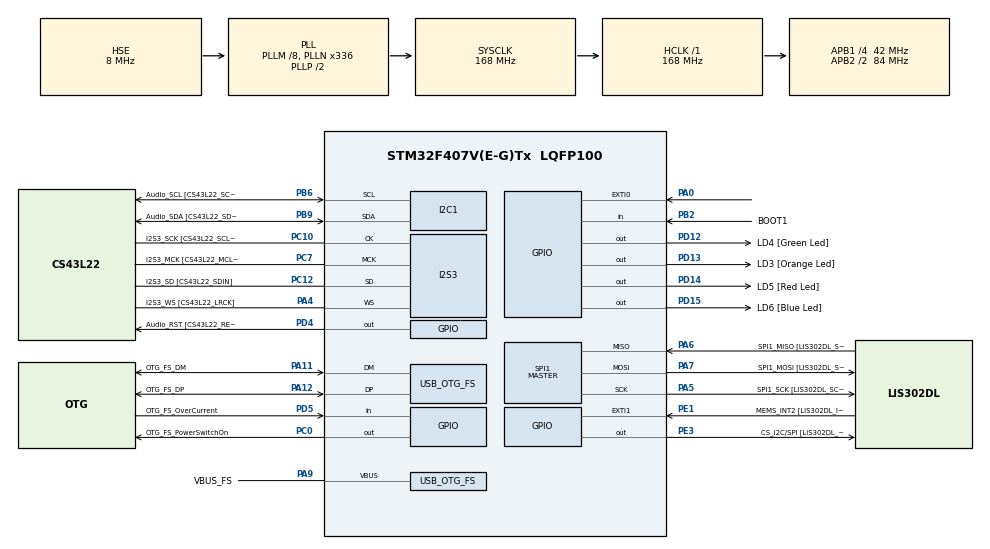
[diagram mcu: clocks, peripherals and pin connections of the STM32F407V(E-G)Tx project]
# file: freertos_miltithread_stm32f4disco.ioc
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FREERTOS.Tasks01=defaultTask,24,128,StartDefaultTask,Default,NULL,Dynamic,NULL,NULL
I2S3.AudioFreq-Half_Duplex_Master=I2S_AUDIOFREQ_96K
I2S3.ErrorAudioFreq=-2.34 %
I2S3.ErrorAudioFreq-Half_Duplex_Master=0.8 %
I2S3.FullDuplexMode=I2S_FULLDUPLEXMODE_DISABLE
I2S3.Instance=SPI$Index
I2S3.RealAudioFreq=93.75 KHz
I2S3.RealAudioFreq-Half_Duplex_Master=96.774 KHz
I2S3.VirtualMode=I2S_MODE_MASTER
Mcu.Family=STM32F4
Mcu.Name=STM32F407V(E-G)Tx
Mcu.Package=LQFP100
NVIC.OTG_FS_IRQn=true\:0\:0\:false\:false\:true\:false\:true\:true
NVIC.PriorityGroup=NVIC_PRIORITYGROUP_4
PA0-WKUP.GPIO_ModeDefaultEXTI=GPIO_MODE_IT_RISING_FALLING
PA0-WKUP.GPIO_PuPd=GPIO_PULLDOWN
PA0-WKUP.Signal=GPXTI0
PA10.GPIO_Label=OTG_FS_ID
PA10.GPIO_Mode=GPIO_MODE_AF_PP
PA10.GPIO_PuPd=GPIO_NOPULL
PA10.GPIO_Speed=GPIO_SPEED_FREQ_LOW
PA10.Signal=USB_OTG_FS_ID
PA11.GPIO_Label=OTG_FS_DM
PA11.GPIO_Mode=GPIO_MODE_AF_PP
PA11.GPIO_PuPd=GPIO_NOPULL
PA11.GPIO_Speed=GPIO_SPEED_FREQ_LOW
PA11.Mode=Host_Only
PA11.Signal=USB_OTG_FS_DM
PA12.GPIO_Label=OTG_FS_DP
PA12.GPIO_Mode=GPIO_MODE_AF_PP
PA12.GPIO_PuPd=GPIO_NOPULL
PA12.GPIO_Speed=GPIO_SPEED_FREQ_LOW
PA12.Mode=Host_Only
PA12.Signal=USB_OTG_FS_DP
PA13.GPIO_Label=SWDIO
PA13.Mode=Serial_Wire
PA13.Signal=SYS_JTMS-SWDIO
PA14.GPIO_Label=SWCLK
PA14.Mode=Serial_Wire
PA14.Signal=SYS_JTCK-SWCLK
PA4.GPIO_Label=I2S3_WS [CS43L22_LRCK]
PA4.GPIO_Mode=GPIO_MODE_AF_PP
PA4.GPIO_PuPd=GPIO_NOPULL
PA4.GPIO_Speed=GPIO_SPEED_FREQ_LOW
PA4.Mode=Half_Duplex_Master
PA4.Signal=I2S3_WS
PA5.GPIO_Label=SPI1_SCK [LIS302DL_SCL/SPC]
PA5.GPIO_Mode=GPIO_MODE_AF_PP
PA5.GPIO_PuPd=GPIO_NOPULL
PA5.GPIO_Speed=GPIO_SPEED_FREQ_LOW
PA5.Mode=Full_Duplex_Master
PA5.Signal=SPI1_SCK
PA6.GPIO_Label=SPI1_MISO [LIS302DL_SDO]
PA6.GPIO_Mode=GPIO_MODE_AF_PP
PA6.GPIO_PuPd=GPIO_NOPULL
PA6.GPIO_Speed=GPIO_SPEED_FREQ_LOW
PA6.Mode=Full_Duplex_Master
PA6.Signal=SPI1_MISO
PA7.GPIO_Label=SPI1_MOSI [LIS302DL_SDA/SDI/SDO]
PA7.GPIO_Mode=GPIO_MODE_AF_PP
PA7.GPIO_PuPd=GPIO_NOPULL
PA7.GPIO_Speed=GPIO_SPEED_FREQ_LOW
PA7.Mode=Full_Duplex_Master
PA7.Signal=SPI1_MOSI
PA9.GPIO_Label=VBUS_FS
PA9.GPIO_Mode=GPIO_MODE_INPUT
PA9.GPIO_PuPd=GPIO_NOPULL
PA9.Mode=Activate_VBUS
PA9.Signal=USB_OTG_FS_VBUS
PB10.GPIO_Label=CLK_IN [MP45DT02_CLK]
PB10.GPIO_Mode=GPIO_MODE_AF_PP
PB10.GPIO_PuPd=GPIO_NOPULL
PB10.GPIO_Speed=GPIO_SPEED_FREQ_LOW
PB10.Signal=I2S2_CK
PB2.GPIO_Label=BOOT1
PB2.GPIO_Mode=GPIO_MODE_INPUT
PB2.GPIO_PuPd=GPIO_NOPULL
PB2.Signal=GPIO_Input
PB3.GPIO_Label=SWO
PB3.Signal=SYS_JTDO-SWO
PB6.GPIO_Label=Audio_SCL [CS43L22_SCL]
PB6.GPIO_Mode=GPIO_MODE_AF_OD
PB6.GPIO_PuPd=GPIO_NOPULL
PB6.GPIO_Speed=GPIO_SPEED_FREQ_LOW
PB6.Mode=I2C
PB6.Signal=I2C1_SCL
PB9.GPIO_Label=Audio_SDA [CS43L22_SDA]
PB9.GPIO_Mode=GPIO_MODE_AF_OD
PB9.GPIO_PuPd=GPIO_NOPULL
PB9.GPIO_Speed=GPIO_SPEED_FREQ_LOW
PB9.Mode=I2C
PB9.Signal=I2C1_SDA
PC0.GPIO_Label=OTG_FS_PowerSwitchOn
PC0.GPIO_PuPd=GPIO_NOPULL
PC0.GPIO_Speed=GPIO_SPEED_FREQ_LOW
PC0.PinState=GPIO_PIN_SET
PC0.Signal=GPIO_Output
PC10.GPIO_Label=I2S3_SCK [CS43L22_SCLK]
PC10.GPIO_Mode=GPIO_MODE_AF_PP
PC10.GPIO_PuPd=GPIO_NOPULL
PC10.GPIO_Speed=GPIO_SPEED_FREQ_LOW
PC10.Mode=Half_Duplex_Master
PC10.Signal=I2S3_CK
PC12.GPIO_Label=I2S3_SD [CS43L22_SDIN]
PC12.GPIO_Mode=GPIO_MODE_AF_PP
PC12.GPIO_PuPd=GPIO_NOPULL
PC12.GPIO_Speed=GPIO_SPEED_FREQ_LOW
PC12.Mode=Half_Duplex_Master
PC12.Signal=I2S3_SD
PC14-OSC32_IN.GPIO_Label=PC14-OSC32_IN
PC14-OSC32_IN.Mode=LSE-External-Oscillator
PC14-OSC32_IN.Signal=RCC_OSC32_IN
PC15-OSC32_OUT.GPIO_Label=PC15-OSC32_OUT
PC15-OSC32_OUT.Mode=LSE-External-Oscillator
PC15-OSC32_OUT.Signal=RCC_OSC32_OUT
PC3.GPIO_Label=PDM_OUT [MP45DT02_DOUT]
PC3.GPIO_Mode=GPIO_MODE_AF_PP
PC3.GPIO_PuPd=GPIO_NOPULL
PC3.GPIO_Speed=GPIO_SPEED_FREQ_LOW
PC3.Signal=I2S2_SD
PC7.GPIO_Label=I2S3_MCK [CS43L22_MCLK]
PC7.GPIO_Mode=GPIO_MODE_AF_PP
PC7.GPIO_PuPd=GPIO_NOPULL
PC7.GPIO_Speed=GPIO_SPEED_FREQ_LOW
PC7.Mode=Master_Clock_Activated
PC7.Signal=I2S3_MCK
PD12.GPIO_Label=LD4 [Green Led]
PD12.GPIO_PuPd=GPIO_NOPULL
PD12.GPIO_Speed=GPIO_SPEED_FREQ_LOW
PD12.Signal=GPIO_Output
PD13.GPIO_Label=LD3 [Orange Led]
PD13.GPIO_PuPd=GPIO_NOPULL
PD13.GPIO_Speed=GPIO_SPEED_FREQ_LOW
PD13.Signal=GPIO_Output
PD14.GPIO_Label=LD5 [Red Led]
PD14.GPIO_PuPd=GPIO_NOPULL
PD14.GPIO_Speed=GPIO_SPEED_FREQ_LOW
PD14.Signal=GPIO_Output
PD15.GPIO_Label=LD6 [Blue Led]
PD15.GPIO_PuPd=GPIO_NOPULL
PD15.GPIO_Speed=GPIO_SPEED_FREQ_LOW
PD15.Signal=GPIO_Output
PD4.GPIO_Label=Audio_RST [CS43L22_RESET]
PD4.GPIO_PuPd=GPIO_NOPULL
PD4.GPIO_Speed=GPIO_SPEED_FREQ_LOW
PD4.Signal=GPIO_Output
PD5.GPIO_Label=OTG_FS_OverCurrent
PD5.GPIO_Mode=GPIO_MODE_INPUT
PD5.GPIO_PuPd=GPIO_NOPULL
PD5.Signal=GPIO_Input
PE1.GPIO_Label=MEMS_INT2 [LIS302DL_INT2]
PE1.GPIO_ModeDefaultEXTI=GPIO_MODE_EVT_RISING
PE1.GPIO_PuPd=GPIO_NOPULL
PE1.Signal=GPXTI1
PE3.GPIO_Label=CS_I2C/SPI [LIS302DL_CS_I2C/SPI]
PE3.GPIO_PuPd=GPIO_NOPULL
PE3.GPIO_Speed=GPIO_SPEED_FREQ_LOW
PE3.Signal=GPIO_Output
PH0-OSC_IN.GPIO_Label=PH0-OSC_IN
PH0-OSC_IN.Mode=HSE-External-Oscillator
PH0-OSC_IN.Signal=RCC_OSC_IN
PH1-OSC_OUT.GPIO_Label=PH1-OSC_OUT
PH1-OSC_OUT.Mode=HSE-External-Oscillator
PH1-OSC_OUT.Signal=RCC_OSC_OUT
ProjectManager.HeapSize=0x200
ProjectManager.StackSize=0x400
ProjectManager.TargetToolchain=STM32CubeIDE
RCC.48MHZClocksFreq_Value=48000000
RCC.AHBFreq_Value=168000000
RCC.APB1CLKDivider=RCC_HCLK_DIV4
RCC.APB1Freq_Value=42000000
RCC.APB1TimFreq_Value=84000000
RCC.APB2CLKDivider=RCC_HCLK_DIV2
RCC.APB2Freq_Value=84000000
RCC.APB2TimFreq_Value=168000000
RCC.CortexFreq_Value=168000000
RCC.HCLKFreq_Value=168000000
RCC.HSE_VALUE=8000000
RCC.HSI_VALUE=16000000
RCC.PLLM=8
RCC.PLLN=336
RCC.PLLQ=7
RCC.SYSCLKFreq_VALUE=168000000
RCC.SYSCLKSource=RCC_SYSCLKSOURCE_PLLCLK
RCC.VCOOutputFreq_Value=336000000
SPI1.BaudRatePrescaler-Full_Duplex_Master=SPI_BAUDRATEPRESCALER_2
SPI1.CalculateBaudRate-Full_Duplex_Master=42.0 MBits/s
SPI1.Direction=SPI_DIRECTION_2LINES
SPI1.Mode=SPI_MODE_MASTER
SPI1.Mode-Full_Duplex_Master=SPI_MODE_MASTER
SPI1.VirtualType=VM_MASTER
USB_HOST.BSP.number=1
USB_HOST.USBH_HandleTypeDef-CDC_FS=hUsbHostFS
USB_HOST.USBH_USE_OS-CDC_FS=0
USB_HOST.VirtualModeFS=Cdc
USB_HOST0.BSP.STBoard=false
USB_HOST0.BSP.api=Unknown
USB_HOST0.BSP.i2caddr=0
USB_HOST0.BSP.i2creg=0
USB_HOST0.BSP.instance=PC0
USB_HOST0.BSP.ip=GPIO
USB_HOST0.BSP.mode=Output
USB_HOST0.BSP.name=Drive_VBUS_FS
USB_HOST0.BSP.solution=PC0
USB_OTG_FS.VirtualMode=Host_Only
USB_OTG_FS.phy_itface=HCD_PHY_EMBEDDED
VP_FREERTOS_VS_CMSIS_V2.Mode=CMSIS_V2
VP_USB_HOST_VS_USB_HOST_CDC_FS.Mode=CDC_FS
board=STM32F407G-DISC1

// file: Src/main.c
/* USER CODE BEGIN Header */
/**
  ******************************************************************************
  * @file           : main.c
  * @brief          : Main program body
  ******************************************************************************
  * @attention
  *
  * <h2><center>&copy; Copyright (c) 2020 STMicroelectronics.
  * All rights reserved.</center></h2>
  *
  * This software component is licensed by ST under Ultimate Liberty license
  * SLA0044, the "License"; You may not use this file except in compliance with
  * the License. You may obtain a copy of the License at:
  *                             www.st.com/SLA0044
  *
  ******************************************************************************
  */
/* USER CODE END Header */
#include "main.h"
#include "cmsis_os.h"
#include "usb_host.h"

/* USER CODE BEGIN Includes */
#include "thread_defs.h"
/* USER CODE END Includes */

I2C_HandleTypeDef hi2c1;

I2S_HandleTypeDef hi2s3;

SPI_HandleTypeDef hspi1;

/* Definitions for defaultTask */
osThreadId_t defaultTaskHandle;
const osThreadAttr_t defaultTask_attributes = {
  .name = "defaultTask",
  .priority = (osPriority_t) osPriorityNormal,
  .stack_size = 128 * 4
};

void SystemClock_Config(void);
static void MX_GPIO_Init(void);
static void MX_I2C1_Init(void);
static void MX_I2S3_Init(void);
static void MX_SPI1_Init(void);
void StartDefaultTask(void *argument);

int main(void)
{

  /* MCU Configuration--------------------------------------------------------*/

  /* Reset of all peripherals, Initializes the Flash interface and the Systick. */
  HAL_Init();

  /* Configure the system clock */
  SystemClock_Config();

  /* Initialize all configured peripherals */
  MX_GPIO_Init();
  MX_I2C1_Init();
  MX_I2S3_Init();
  MX_SPI1_Init();
  /* USER CODE BEGIN 2 */

  /* EXTI interrupt init*/
  HAL_NVIC_SetPriority(EXTI0_IRQn, 0, 0);
  HAL_NVIC_EnableIRQ(EXTI0_IRQn);

  /* USER CODE END 2 */

  /* Init scheduler */
  osKernelInitialize();

  /* Create the thread(s) */
  /* creation of defaultTask */
  defaultTaskHandle = osThreadNew(StartDefaultTask, NULL, &defaultTask_attributes);

  /* Start scheduler */
  osKernelStart();

  /* We should never get here as control is now taken by the scheduler */
  /* Infinite loop */
  while (1)
  {

  }
}

void SystemClock_Config(void)
{
  RCC_OscInitTypeDef RCC_OscInitStruct = {0};
  RCC_ClkInitTypeDef RCC_ClkInitStruct = {0};
  RCC_PeriphCLKInitTypeDef PeriphClkInitStruct = {0};

  /** Configure the main internal regulator output voltage
  */
  __HAL_RCC_PWR_CLK_ENABLE();
  __HAL_PWR_VOLTAGESCALING_CONFIG(PWR_REGULATOR_VOLTAGE_SCALE1);
  /** Initializes the RCC Oscillators according to the specified parameters
  * in the RCC_OscInitTypeDef structure.
  */
  RCC_OscInitStruct.OscillatorType = RCC_OSCILLATORTYPE_HSE;
  RCC_OscInitStruct.HSEState = RCC_HSE_ON;
  RCC_OscInitStruct.PLL.PLLState = RCC_PLL_ON;
  RCC_OscInitStruct.PLL.PLLSource = RCC_PLLSOURCE_HSE;
  RCC_OscInitStruct.PLL.PLLM = 8;
  RCC_OscInitStruct.PLL.PLLN = 336;
  RCC_OscInitStruct.PLL.PLLP = RCC_PLLP_DIV2;
  RCC_OscInitStruct.PLL.PLLQ = 7;
  if (HAL_RCC_OscConfig(&RCC_OscInitStruct) != HAL_OK)
  {
    Error_Handler();
  }
  /** Initializes the CPU, AHB and APB buses clocks
  */
  RCC_ClkInitStruct.ClockType = RCC_CLOCKTYPE_HCLK|RCC_CLOCKTYPE_SYSCLK
                              |RCC_CLOCKTYPE_PCLK1|RCC_CLOCKTYPE_PCLK2;
  RCC_ClkInitStruct.SYSCLKSource = RCC_SYSCLKSOURCE_PLLCLK;
  RCC_ClkInitStruct.AHBCLKDivider = RCC_SYSCLK_DIV1;
  RCC_ClkInitStruct.APB1CLKDivider = RCC_HCLK_DIV4;
  RCC_ClkInitStruct.APB2CLKDivider = RCC_HCLK_DIV2;

  if (HAL_RCC_ClockConfig(&RCC_ClkInitStruct, FLASH_LATENCY_5) != HAL_OK)
  {
    Error_Handler();
  }
  PeriphClkInitStruct.PeriphClockSelection = RCC_PERIPHCLK_I2S;
  PeriphClkInitStruct.PLLI2S.PLLI2SN = 192;
  PeriphClkInitStruct.PLLI2S.PLLI2SR = 2;
  if (HAL_RCCEx_PeriphCLKConfig(&PeriphClkInitStruct) != HAL_OK)
  {
    Error_Handler();
  }
}

static void MX_I2C1_Init(void)
{

  hi2c1.Instance = I2C1;
  hi2c1.Init.ClockSpeed = 100000;
  hi2c1.Init.DutyCycle = I2C_DUTYCYCLE_2;
  hi2c1.Init.OwnAddress1 = 0;
  hi2c1.Init.AddressingMode = I2C_ADDRESSINGMODE_7BIT;
  hi2c1.Init.DualAddressMode = I2C_DUALADDRESS_DISABLE;
  hi2c1.Init.OwnAddress2 = 0;
  hi2c1.Init.GeneralCallMode = I2C_GENERALCALL_DISABLE;
  hi2c1.Init.NoStretchMode = I2C_NOSTRETCH_DISABLE;
  if (HAL_I2C_Init(&hi2c1) != HAL_OK)
  {
    Error_Handler();
  }

}

static void MX_I2S3_Init(void)
{

  hi2s3.Instance = SPI3;
  hi2s3.Init.Mode = I2S_MODE_MASTER_TX;
  hi2s3.Init.Standard = I2S_STANDARD_PHILIPS;
  hi2s3.Init.DataFormat = I2S_DATAFORMAT_16B;
  hi2s3.Init.MCLKOutput = I2S_MCLKOUTPUT_ENABLE;
  hi2s3.Init.AudioFreq = I2S_AUDIOFREQ_96K;
  hi2s3.Init.CPOL = I2S_CPOL_LOW;
  hi2s3.Init.ClockSource = I2S_CLOCK_PLL;
  hi2s3.Init.FullDuplexMode = I2S_FULLDUPLEXMODE_DISABLE;
  if (HAL_I2S_Init(&hi2s3) != HAL_OK)
  {
    Error_Handler();
  }

}

static void MX_SPI1_Init(void)
{

  /* SPI1 parameter configuration*/
  hspi1.Instance = SPI1;
  hspi1.Init.Mode = SPI_MODE_MASTER;
  hspi1.Init.Direction = SPI_DIRECTION_2LINES;
  hspi1.Init.DataSize = SPI_DATASIZE_8BIT;
  hspi1.Init.CLKPolarity = SPI_POLARITY_LOW;
  hspi1.Init.CLKPhase = SPI_PHASE_1EDGE;
  hspi1.Init.NSS = SPI_NSS_SOFT;
  hspi1.Init.BaudRatePrescaler = SPI_BAUDRATEPRESCALER_2;
  hspi1.Init.FirstBit = SPI_FIRSTBIT_MSB;
  hspi1.Init.TIMode = SPI_TIMODE_DISABLE;
  hspi1.Init.CRCCalculation = SPI_CRCCALCULATION_DISABLE;
  hspi1.Init.CRCPolynomial = 10;
  if (HAL_SPI_Init(&hspi1) != HAL_OK)
  {
    Error_Handler();
  }

}

static void MX_GPIO_Init(void)
{
  GPIO_InitTypeDef GPIO_InitStruct = {0};

  /* GPIO Ports Clock Enable */
  __HAL_RCC_GPIOE_CLK_ENABLE();
  __HAL_RCC_GPIOC_CLK_ENABLE();
  __HAL_RCC_GPIOH_CLK_ENABLE();
  __HAL_RCC_GPIOA_CLK_ENABLE();
  __HAL_RCC_GPIOB_CLK_ENABLE();
  __HAL_RCC_GPIOD_CLK_ENABLE();

  /*Configure GPIO pin Output Level */
  HAL_GPIO_WritePin(CS_I2C_SPI_GPIO_Port, CS_I2C_SPI_Pin, GPIO_PIN_RESET);

  /*Configure GPIO pin Output Level */
  HAL_GPIO_WritePin(OTG_FS_PowerSwitchOn_GPIO_Port, OTG_FS_PowerSwitchOn_Pin, GPIO_PIN_SET);

  /*Configure GPIO pin Output Level */
  HAL_GPIO_WritePin(GPIOD, LD4_Pin|LD3_Pin|LD5_Pin|LD6_Pin
                          |Audio_RST_Pin, GPIO_PIN_RESET);

  /*Configure GPIO pin : CS_I2C_SPI_Pin */
  GPIO_InitStruct.Pin = CS_I2C_SPI_Pin;
  GPIO_InitStruct.Mode = GPIO_MODE_OUTPUT_PP;
  GPIO_InitStruct.Pull = GPIO_NOPULL;
  GPIO_InitStruct.Speed = GPIO_SPEED_FREQ_LOW;
  HAL_GPIO_Init(CS_I2C_SPI_GPIO_Port, &GPIO_InitStruct);

  /*Configure GPIO pin : OTG_FS_PowerSwitchOn_Pin */
  GPIO_InitStruct.Pin = OTG_FS_PowerSwitchOn_Pin;
  GPIO_InitStruct.Mode = GPIO_MODE_OUTPUT_PP;
  GPIO_InitStruct.Pull = GPIO_NOPULL;
  GPIO_InitStruct.Speed = GPIO_SPEED_FREQ_LOW;
  HAL_GPIO_Init(OTG_FS_PowerSwitchOn_GPIO_Port, &GPIO_InitStruct);

  /*Configure GPIO pin : PDM_OUT_Pin */
  GPIO_InitStruct.Pin = PDM_OUT_Pin;
  GPIO_InitStruct.Mode = GPIO_MODE_AF_PP;
  GPIO_InitStruct.Pull = GPIO_NOPULL;
  GPIO_InitStruct.Speed = GPIO_SPEED_FREQ_LOW;
  GPIO_InitStruct.Alternate = GPIO_AF5_SPI2;
  HAL_GPIO_Init(PDM_OUT_GPIO_Port, &GPIO_InitStruct);

  /*Configure GPIO pin : PA0 */
  GPIO_InitStruct.Pin = GPIO_PIN_0;
  GPIO_InitStruct.Mode = GPIO_MODE_IT_RISING_FALLING;
  GPIO_InitStruct.Pull = GPIO_PULLDOWN;
  HAL_GPIO_Init(GPIOA, &GPIO_InitStruct);

  /*Configure GPIO pin : BOOT1_Pin */
  GPIO_InitStruct.Pin = BOOT1_Pin;
  GPIO_InitStruct.Mode = GPIO_MODE_INPUT;
  GPIO_InitStruct.Pull = GPIO_NOPULL;
  HAL_GPIO_Init(BOOT1_GPIO_Port, &GPIO_InitStruct);

  /*Configure GPIO pin : CLK_IN_Pin */
  GPIO_InitStruct.Pin = CLK_IN_Pin;
  GPIO_InitStruct.Mode = GPIO_MODE_AF_PP;
  GPIO_InitStruct.Pull = GPIO_NOPULL;
  GPIO_InitStruct.Speed = GPIO_SPEED_FREQ_LOW;
  GPIO_InitStruct.Alternate = GPIO_AF5_SPI2;
  HAL_GPIO_Init(CLK_IN_GPIO_Port, &GPIO_InitStruct);

  /*Configure GPIO pins : LD4_Pin LD3_Pin LD5_Pin LD6_Pin
                           Audio_RST_Pin */
  GPIO_InitStruct.Pin = LD4_Pin|LD3_Pin|LD5_Pin|LD6_Pin
                          |Audio_RST_Pin;
  GPIO_InitStruct.Mode = GPIO_MODE_OUTPUT_PP;
  GPIO_InitStruct.Pull = GPIO_NOPULL;
  GPIO_InitStruct.Speed = GPIO_SPEED_FREQ_LOW;
  HAL_GPIO_Init(GPIOD, &GPIO_InitStruct);

  /*Configure GPIO pin : OTG_FS_OverCurrent_Pin */
  GPIO_InitStruct.Pin = OTG_FS_OverCurrent_Pin;
  GPIO_InitStruct.Mode = GPIO_MODE_INPUT;
  GPIO_InitStruct.Pull = GPIO_NOPULL;
  HAL_GPIO_Init(OTG_FS_OverCurrent_GPIO_Port, &GPIO_InitStruct);

  /*Configure GPIO pin : MEMS_INT2_Pin */
  GPIO_InitStruct.Pin = MEMS_INT2_Pin;
  GPIO_InitStruct.Mode = GPIO_MODE_EVT_RISING;
  GPIO_InitStruct.Pull = GPIO_NOPULL;
  HAL_GPIO_Init(MEMS_INT2_GPIO_Port, &GPIO_InitStruct);

}

void StartDefaultTask(void *argument)
{
  /* init code for USB_HOST */
  MX_USB_HOST_Init();
  /* USER CODE BEGIN 5 */
  {
	osThreadId_t checkTaskHandle;

	checkTaskHandle = osThreadNew(SINGLELED_Task, NULL, &singleLedTask_attributes);
	if(checkTaskHandle == NULL)
	{
	  Error_Handler();
	}
	checkTaskHandle = osThreadNew(GROUPLED_Task, NULL, &groupLedTask_attributes);
	if(checkTaskHandle == NULL)
	{
	  Error_Handler();
	}
  }
  /* Infinite loop */
  for(;;)
  {
    osDelay(400);
  }
  /* USER CODE END 5 */
}

void Error_Handler(void)
{
}

/************************ (C) COPYRIGHT STMicroelectronics *****END OF FILE****/

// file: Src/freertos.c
/* USER CODE BEGIN Header */
/**
  ******************************************************************************
  * File Name          : freertos.c
  * Description        : Code for freertos applications
  ******************************************************************************
  * @attention
  *
  * <h2><center>&copy; Copyright (c) 2020 STMicroelectronics.
  * All rights reserved.</center></h2>
  *
  * This software component is licensed by ST under Ultimate Liberty license
  * SLA0044, the "License"; You may not use this file except in compliance with
  * the License. You may obtain a copy of the License at:
  *                             www.st.com/SLA0044
  *
  ******************************************************************************
  */
/* USER CODE END Header */

#include "FreeRTOS.h"
#include "task.h"
#include "main.h"

/* USER CODE BEGIN Includes */
#include "thread_defs.h"
/* USER CODE END Includes */

/* USER CODE BEGIN Variables */

const osThreadAttr_t singleLedTask_attributes = {
                 .name = "singleLedTask",
                 .priority = (osPriority_t) osPriorityNormal,
                 .stack_size = 128 * 4
};
const osThreadAttr_t groupLedTask_attributes = {
                 .name = "groupLedTask",
                 .priority = (osPriority_t) osPriorityNormal,
                 .stack_size = 128 * 4
};

/* USER CODE END Variables */

/* USER CODE BEGIN Application */
void SINGLELED_Task(void *argument)
{
	  HAL_GPIO_WritePin(GPIOD, LD4_Pin, GPIO_PIN_SET);
	  /* Infinite loop */
	  for(;;)
	  {
	    osDelay(100);
	    HAL_GPIO_TogglePin(GPIOD, LD4_Pin);
	  }

}
void GROUPLED_Task(void *argument)
{
	  HAL_GPIO_WritePin(GPIOD, LD3_Pin|LD6_Pin, GPIO_PIN_SET);
	  /* Infinite loop */
	  for(;;)
	  {
	    osDelay(400);
	    HAL_GPIO_TogglePin(GPIOD, LD5_Pin|LD6_Pin);
	    HAL_GPIO_TogglePin(GPIOD, LD3_Pin);
	  }
}

/* USER CODE END Application */

/************************ (C) COPYRIGHT STMicroelectronics *****END OF FILE****/
